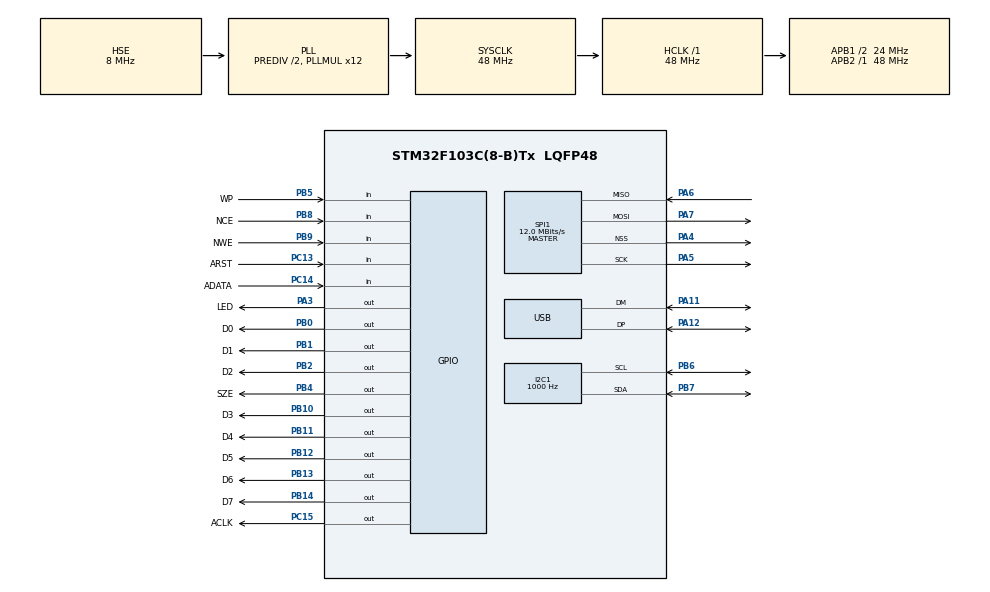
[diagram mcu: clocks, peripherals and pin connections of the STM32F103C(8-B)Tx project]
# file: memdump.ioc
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I2C1.ClockSpeed=1000
I2C1.GeneralCallMode=I2C_GENERALCALL_DISABLE
I2C1.NoStretchMode=I2C_NOSTRETCH_ENABLE
Mcu.Family=STM32F1
Mcu.Name=STM32F103C(8-B)Tx
Mcu.Package=LQFP48
NVIC.PriorityGroup=NVIC_PRIORITYGROUP_4
NVIC.USB_LP_CAN1_RX0_IRQn=true\:0\:0\:false\:false\:true\:false\:true\:true
PA11.Mode=Device
PA11.Signal=USB_DM
PA12.Mode=Device
PA12.Signal=USB_DP
PA13.Mode=Serial_Wire
PA13.Signal=SYS_JTMS-SWDIO
PA14.Mode=Serial_Wire
PA14.Signal=SYS_JTCK-SWCLK
PA3.GPIO_Label=LED
PA3.Signal=GPIO_Output
PA4.Mode=NSS_Signal_Hard_Output
PA4.Signal=SPI1_NSS
PA5.Mode=Full_Duplex_Master
PA5.Signal=SPI1_SCK
PA6.Mode=Full_Duplex_Master
PA6.Signal=SPI1_MISO
PA7.Mode=Full_Duplex_Master
PA7.Signal=SPI1_MOSI
PB0.GPIO_Label=D0
PB0.Signal=GPIO_Output
PB1.GPIO_Label=D1
PB1.Signal=GPIO_Output
PB10.GPIO_Label=D3
PB10.Signal=GPIO_Output
PB11.GPIO_Label=D4
PB11.Signal=GPIO_Output
PB12.GPIO_Label=D5
PB12.Signal=GPIO_Output
PB13.GPIO_Label=D6
PB13.Signal=GPIO_Output
PB14.GPIO_Label=D7
PB14.Signal=GPIO_Output
PB2.GPIO_Label=D2
PB2.Signal=GPIO_Output
PB4.GPIO_Label=SZE
PB4.Signal=GPIO_Output
PB5.GPIO_Label=WP
PB5.Signal=GPIO_Input
PB6.Mode=I2C
PB6.Signal=I2C1_SCL
PB7.Mode=I2C
PB7.Signal=I2C1_SDA
PB8.GPIO_Label=NCE
PB8.Signal=GPIO_Input
PB9.GPIO_Label=NWE
PB9.Signal=GPIO_Input
PC13-TAMPER-RTC.GPIO_Label=ARST
PC13-TAMPER-RTC.Signal=GPIO_Input
PC14-OSC32_IN.GPIO_Label=ADATA
PC14-OSC32_IN.Signal=GPIO_Input
PC15-OSC32_OUT.GPIO_Label=ACLK
PC15-OSC32_OUT.Signal=GPIO_Output
PD0-OSC_IN.Mode=HSE-External-Oscillator
PD0-OSC_IN.Signal=RCC_OSC_IN
PD1-OSC_OUT.Mode=HSE-External-Oscillator
PD1-OSC_OUT.Signal=RCC_OSC_OUT
ProjectManager.HeapSize=0x200
ProjectManager.StackSize=0x400
ProjectManager.TargetToolchain=STM32CubeIDE
RCC.AHBFreq_Value=48000000
RCC.APB1CLKDivider=RCC_HCLK_DIV2
RCC.APB1Freq_Value=24000000
RCC.APB1TimFreq_Value=48000000
RCC.APB2Freq_Value=48000000
RCC.APB2TimFreq_Value=48000000
RCC.HCLKFreq_Value=48000000
RCC.HSEDivPLL=RCC_HSE_PREDIV_DIV2
RCC.PLLMUL=RCC_PLL_MUL12
RCC.PLLSourceVirtual=RCC_PLLSOURCE_HSE
RCC.SYSCLKFreq_VALUE=48000000
RCC.SYSCLKSource=RCC_SYSCLKSOURCE_PLLCLK
RCC.USBFreq_Value=48000000
SPI1.BaudRatePrescaler=SPI_BAUDRATEPRESCALER_4
SPI1.CalculateBaudRate=12.0 MBits/s
SPI1.Direction=SPI_DIRECTION_2LINES
SPI1.Mode=SPI_MODE_MASTER
SPI1.VirtualNSS=VM_NSSHARD
SPI1.VirtualType=VM_MASTER
USB_DEVICE.CLASS_NAME_FS=CDC
USB_DEVICE.VirtualMode=Cdc
USB_DEVICE.VirtualModeFS=Cdc_FS
VP_USB_DEVICE_VS_USB_DEVICE_CDC_FS.Mode=CDC_FS
board=custom

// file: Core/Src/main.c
/* USER CODE BEGIN Header */
/**
  ******************************************************************************
  * @file           : main.c
  * @brief          : Main program body
  ******************************************************************************
  * @attention
  *
  * <h2><center>&copy; Copyright (c) 2022 STMicroelectronics.
  * All rights reserved.</center></h2>
  *
  * This software component is licensed by ST under BSD 3-Clause license,
  * the "License"; You may not use this file except in compliance with the
  * License. You may obtain a copy of the License at:
  *                        opensource.org/licenses/BSD-3-Clause
  *
  ******************************************************************************
  */
/* USER CODE END Header */
#include "main.h"
#include "usb_device.h"

I2C_HandleTypeDef hi2c1;

SPI_HandleTypeDef hspi1;

/* USER CODE BEGIN PV */

state st = run;
uint8_t cmd_buf [BUFSIZ] = {0};
uint8_t cmd_pos = 0;

/* USER CODE END PV */

void SystemClock_Config(void);
static void MX_GPIO_Init(void);
static void MX_I2C1_Init(void);
static void MX_SPI1_Init(void);
/* USER CODE BEGIN PFP */
extern uint8_t CDC_Transmit_FS(uint8_t *Buf, uint16_t Len);
/* USER CODE END PFP */

/* USER CODE BEGIN 0 */

/* -----------------------------------------------------------------------------
 * Converts a hexadecimal ASCII character to it's value
 *
 * From https://github.com/Sasszem/oldschool-game/blob/main/save.c
 * under the conditions of the MIT License:
 *
 * MIT License
 *
 * Copyright (c) 2022 László Baráth
 *
 * Permission is hereby granted, free of charge, to any person obtaining a copy
 * of this software and associated documentation files (the "Software"), to deal
 * in the Software without restriction, including without limitation the rights
 * to use, copy, modify, merge, publish, distribute, sublicense, and/or sell
 * copies of the Software, and to permit persons to whom the Software is
 * furnished to do so, subject to the following conditions:
 *
 * The above copyright notice and this permission notice shall be included in all
 * copies or substantial portions of the Software.
 *
 * THE SOFTWARE IS PROVIDED "AS IS", WITHOUT WARRANTY OF ANY KIND, EXPRESS OR
 * IMPLIED, INCLUDING BUT NOT LIMITED TO THE WARRANTIES OF MERCHANTABILITY,
 * FITNESS FOR A PARTICULAR PURPOSE AND NONINFRINGEMENT. IN NO EVENT SHALL THE
 * AUTHORS OR COPYRIGHT HOLDERS BE LIABLE FOR ANY CLAIM, DAMAGES OR OTHER
 * LIABILITY, WHETHER IN AN ACTION OF CONTRACT, TORT OR OTHERWISE, ARISING FROM,
 * OUT OF OR IN CONNECTION WITH THE SOFTWARE OR THE USE OR OTHER DEALINGS IN THE
 * SOFTWARE.
 * -------------------------------------------------------------------------- */
uint8_t hex_nibble(const char val) {
  if ('0' <= val && val <= '9')
    return val - '0';
  if ('a' <= val && val <= 'f')
    return val - 'a' + 10;
  if ('A' <= val && val <= 'F')
    return val - 'A' + 10;
  return 0xFF;
}

/* -----------------------------------------------------------------------------------------
 * Converts all characters until the first character that matches delim or until *Len
 * Result is stored to dest
 * Return value is the number of characters processed or 0 in case of a conversion failure
 * ----------------------------------------------------------------------------------------- */
uint8_t homegrown_scanf (uint8_t *Buf, uint8_t Len, uint32_t *dest, const char delim) {
  uint8_t cursor = 0;
  for (*dest = 0; Buf[cursor] != delim && cursor < Len; cursor++) {
    uint8_t nibble = hex_nibble(Buf[cursor]);
    if (nibble == 0xFF) {
      *dest = 0;
      return(cursor + 1);
    }
    *dest = *dest * 16 + nibble;
  }
  return (cursor + 1);
}
/* --------------------------------------------------------------------------
 * convert a hex to ascii string
 * input is a byte array (binary), output is a character array (str)
 * len is the number of bytes to convert, str needs to be at least 2x as big
 * -------------------------------------------------------------------------- */
void hex_to_ascii (const uint8_t *binary, char *str, uint16_t len) {
  for (uint16_t i = 0; i < len; ++i) {
    uint8_t low = binary [i] & 0x0f;
    uint8_t high = binary [i] >> 4;
    str [2 * i] = (low <= 0x9) ? low + '0' : low - 0xA + 'A';
    str [2 * i + 1] = (high <= 0x9) ? high + '0' : high - 0xA + 'A';
  }
}

char *hal_reason[] = {
  "OK     \n\r", // HAL_OK == 0
  "ERROR  \n\r", // HAL_ERROR == 1
  "BUSY   \n\r", // HAL_BUSY == 2
  "TIMEOUT\n\r", // HAL_TIMEOUT == 3
};

void i2c_dump(uint16_t dev_address, uint16_t capacity) {

  char tx_buff [BUFSIZ] = {0};
  uint8_t read_buff [BUFSIZ / 2] = {0};
  for (uint16_t i = 0; i < capacity; i += BUFSIZ / 2) {
    uint8_t reason;
    if ((reason = HAL_I2C_Mem_Read(&hi2c1, dev_address << 1, i, 8, read_buff, BUFSIZ/2, 500)) != HAL_OK) {

      CDC_Transmit_FS((uint8_t *) "No memory on address\n\r", 22);
      HAL_Delay(100);
      CDC_Transmit_FS((uint8_t *) hal_reason[reason], 9); // Got ERROR, and hi2c1.ErrorCode == HAL_I2C_ERROR_TIMEOUT
      HAL_Delay(100);

//      __HAL_RCC_I2C1_FORCE_RESET();
//      HAL_Delay(100);
//      __HAL_RCC_I2C1_RELEASE_RESET();
    }
    else {
      hex_to_ascii(read_buff, tx_buff, BUFSIZ/2);
      CDC_Transmit_FS((uint8_t *) tx_buff, BUFSIZ);
      CDC_Transmit_FS((uint8_t *) "\n\r", 2);
    }
  }
}

// todo spi, d28, d32 read & write, i2c write

void i2c_errata() {
  char* reason = "Unknown";

  // 1. Disable the I2C peripheral by clearing the PE bit in I2Cx_CR1 register.
  //LL_I2C_Disable(I2C1);
  CLEAR_BIT(I2C1->CR1, I2C_CR1_PE);
  HAL_Delay(100); // TODO wait until IDR has right value

  {
    GPIO_InitTypeDef GPIO_InitStruct = {0};
  //  /*Configure GPIO pin Output Level */
    //HAL_GPIO_WritePin(GPIOB, D6_Pin, GPIO_PIN_RESET);

    GPIO_InitStruct.Pin = D6_Pin|D7_Pin;
    GPIO_InitStruct.Mode = GPIO_MODE_OUTPUT_OD;
    GPIO_InitStruct.Pull = GPIO_NOPULL; // GPIO_PULLUP vagy GPIO_PULLDOWN
    GPIO_InitStruct.Speed = GPIO_SPEED_FREQ_HIGH; // GPIO_PULLUP vagy GPIO_PULLDOWN
    HAL_GPIO_Init(GPIOB, &GPIO_InitStruct);
    HAL_Delay(100); // TODO wait until IDR has right value
  }

  // 2. Configure the SCL and SDA I/Os as General Purpose Output Open-Drain, High level (Write 1 to GPIOx_ODR)
  const uint16_t PIN_SDA = D7_Pin;
  const uint16_t PIN_SCL = D6_Pin;
  //GPIOB->ODR |= GPIO_PIN_6 | GPIO_PIN_7;
  ATOMIC_MODIFY_REG(GPIOB->ODR, 0, PIN_SDA | PIN_SCL);

  // 3. Check SCL and SDA High level in GPIOx_IDR.
  HAL_Delay(100); // TODO wait until IDR has right value

  int err = 0;
  if (READ_BIT(GPIOB->IDR, PIN_SDA | PIN_SCL) != (PIN_SDA | PIN_SCL)) {
    err = 1;
    reason = "Error in step 3\n\r";
  }

  // 4. Configure the SDA I/O as General Purpose Output Open-Drain, Low level (Write 0 to GPIOx_ODR).
  ATOMIC_MODIFY_REG(GPIOB->ODR, PIN_SDA, 0);
  // 5. Check SDA Low level in GPIOx_IDR.
  HAL_Delay(100);
  if (READ_BIT(GPIOB->IDR, PIN_SDA) != 0) {
    err = 1;
    reason = "Error in step 5\n\r";
    goto label_err;
  }
  // 6. Configure the SCL I/O as General Purpose Output Open-Drain, Low level (Write 0 to GPIOx_ODR).
  ATOMIC_MODIFY_REG(GPIOB->ODR, PIN_SCL, 0);
  // 7. Check SCL Low level in GPIOx_IDR.
  HAL_Delay(100);
  if (READ_BIT(GPIOB->IDR, PIN_SCL) != 0) {
    err = 1;
    reason = "Error in step 7\n\r";
    goto label_err;
  }
  // 8. Configure the SCL I/O as General Purpose Output Open-Drain, High level (Write 1 to GPIOx_ODR).
  ATOMIC_MODIFY_REG(GPIOB->ODR, 0, PIN_SCL);
  // 9. Check SCL High level in GPIOx_IDR.
  HAL_Delay(1000);
  READ_REG(GPIOB->ODR);
  HAL_Delay(1000);
  READ_REG(GPIOB->IDR);
  HAL_Delay(1000);
  if (READ_BIT(GPIOB->IDR, PIN_SCL) != PIN_SCL) {
    err = 1;
    reason = "Error in step 9\n\r";
    goto label_err;
  }
  // 10. Configure the SDA I/O as General Purpose Output Open-Drain , High level (Write 1 to GPIOx_ODR).
  ATOMIC_MODIFY_REG(GPIOB->ODR, 0, PIN_SDA);
  // 11. Check SDA High level in GPIOx_IDR.
  HAL_Delay(1000);

  if (READ_BIT(GPIOB->IDR, PIN_SDA) != PIN_SDA) {
    err = 1;
    reason = "Error in step 11\n\r";
    goto label_err;
  }
  // 12. Configure the SCL and SDA I/Os as Alternate function Open-Drain.

  {
    GPIO_InitTypeDef GPIO_InitStruct = {0};
    //  /*Configure GPIO pin Output Level */
    //HAL_GPIO_WritePin(GPIOB, D6_Pin, GPIO_PIN_RESET);

    GPIO_InitStruct.Pin = D6_Pin|D7_Pin;
    GPIO_InitStruct.Mode = GPIO_MODE_AF_OD;
    GPIO_InitStruct.Pull = GPIO_NOPULL; // GPIO_PULLUP vagy GPIO_PULLDOWN
    GPIO_InitStruct.Speed = GPIO_SPEED_FREQ_HIGH;
    HAL_GPIO_Init(GPIOB, &GPIO_InitStruct);
    HAL_Delay(100); // TODO wait until IDR has right value
  }

  HAL_Delay(100);
  // 13. Set SWRST bit in I2Cx_CR1 register.
  SET_BIT(I2C1->CR1, I2C_CR1_SWRST);
  HAL_Delay(100);
  // 14. Clear SWRST bit in I2Cx_CR1 register.
  CLEAR_BIT(I2C1->CR1, I2C_CR1_SWRST);
  HAL_Delay(100);
  // 15. Enable the I2C peripheral by setting the PE bit in I2Cx_CR1 register.
  SET_BIT(I2C1->CR1, I2C_CR1_PE);

label_err:
  if (err != 0) {
    uint32_t read_buff = READ_REG(GPIOB->IDR);
    read_buff &= (PIN_SDA | PIN_SCL);

    char tx_buff [BUFSIZ] = {0};
    hex_to_ascii((char*)&read_buff, tx_buff, 4);
    HAL_Delay(100);
    CDC_Transmit_FS((uint8_t *) tx_buff, 8);

    HAL_Delay(100);
    CDC_Transmit_FS((uint8_t *) "Error: something happened\n\r", strlen("Error: something happened\n\r"));
    HAL_Delay(100);
    CDC_Transmit_FS(reason, strlen(reason));
  }
/*  char tx_buff [BUFSIZ] = {0};
  hex_to_ascii((char*)&read_buff, tx_buff, 4);
  HAL_Delay(100);
  CDC_Transmit_FS((uint8_t *) tx_buff, 8);

  HAL_Delay(100);
  CDC_Transmit_FS((uint8_t *) "\n\r", 2);*/

}

/* USER CODE END 0 */

int main(void)
{

  /* MCU Configuration--------------------------------------------------------*/

  /* Reset of all peripherals, Initializes the Flash interface and the Systick. */
  HAL_Init();

  /* Configure the system clock */
  SystemClock_Config();

  /* Initialize all configured peripherals */
  MX_GPIO_Init();
  MX_I2C1_Init();
  MX_SPI1_Init();
  MX_USB_DEVICE_Init();
  /* USER CODE BEGIN 2 */

  char error_msg[] = "Invalid command!\n\r";
  uint32_t i2c_address = 0;
  uint32_t limit_address = 0;

  //__HAL_RCC_I2C1_FORCE_RESET();
  //HAL_Delay(100);
  //__HAL_RCC_I2C1_RELEASE_RESET();
  HAL_GPIO_WritePin(ARST_GPIO_Port, ARST_Pin, 0);
  HAL_Delay(100);
  HAL_GPIO_WritePin(ARST_GPIO_Port, ARST_Pin, 1);
  /* USER CODE END 2 */

  /* Infinite loop */
  /* USER CODE BEGIN WHILE */
  while (1) {
    HAL_Delay(100);
    //if received \r start decoding state
    if (cmd_buf[cmd_pos - 1] == '\r') {
      // receive the command, set state
      if (cmd_buf[0] == 'r') {
        switch (cmd_buf[1]) {
          case 'i':
            st = read_i2c;
            break;
          case 's':
            st = read_spi;
            break;
          case '2':
            st = read_d28;
            break;
          case '3':
            st = read_d32;
            break;
          default:
            st = invalid;
        }
      }
      else if (cmd_buf[0] == 'w') {
        switch (cmd_buf[1]) {
          case 'i':
            st = write_i2c;
            break;
          case 's':
            st = write_spi;
            break;
          case '2':
            st = write_d28;
            break;
          case '3':
            st = write_d32;
            break;
          default:
            st = invalid;
        }
      }
      else if (cmd_buf[0] == 'x') {
        st = reset_i2c;
      }
      else {
        st = invalid;
      }
      // receive optional i2c address and limit address
      if (st != reset_i2c) {
        uint8_t cursor = 3; // 3 = 2 for the command, 1 for a separator
        cmd_pos -= cursor - 1;
        if (st == write_i2c || st == read_i2c) {
          cursor += (homegrown_scanf(cmd_buf + cursor, cmd_pos, &i2c_address, ' '));
          if (i2c_address == 0) {
            st = invalid;
          }
          cmd_pos -= cursor - 1;
        }
        homegrown_scanf(cmd_buf + cursor, cmd_pos, &limit_address, '\r');
        if (limit_address == 0) {
          st = invalid;
        }
      }
      //reset cmd_buf and cmd_pos
      memset(cmd_buf, 0, BUFSIZ);
      cmd_pos = 0;
    }
    switch (st) {
      case read_i2c:
        i2c_dump(i2c_address, limit_address);
        i2c_address = 0;
        limit_address = 0;
        st = run;
        break;
      case read_spi:
        limit_address = 0;
        st = run;
        break;
      case read_d28:
        limit_address = 0;
        st = run;
        break;
      case read_d32:
        limit_address = 0;
        st = run;
        break;
      case write_i2c:
        limit_address = 0;
        st = run;
        break;
      case write_spi:
        limit_address = 0;
        st = run;
        break;
      case write_d28:
        limit_address = 0;
        st = run;
        break;
      case write_d32:
        limit_address = 0;
        st = run;
        break;
      case invalid:
        CDC_Transmit_FS( (uint8_t *) error_msg, strlen(error_msg));
        st = run;
        break;
      case reset_i2c:
        i2c_errata();
        st = run;
      default:
        continue;
    }
    /* USER CODE END WHILE */

  }
}

void SystemClock_Config(void)
{
  RCC_OscInitTypeDef RCC_OscInitStruct = {0};
  RCC_ClkInitTypeDef RCC_ClkInitStruct = {0};
  RCC_PeriphCLKInitTypeDef PeriphClkInit = {0};

  /** Initializes the RCC Oscillators according to the specified parameters
  * in the RCC_OscInitTypeDef structure.
  */
  RCC_OscInitStruct.OscillatorType = RCC_OSCILLATORTYPE_HSE;
  RCC_OscInitStruct.HSEState = RCC_HSE_ON;
  RCC_OscInitStruct.HSEPredivValue = RCC_HSE_PREDIV_DIV2;
  RCC_OscInitStruct.HSIState = RCC_HSI_ON;
  RCC_OscInitStruct.PLL.PLLState = RCC_PLL_ON;
  RCC_OscInitStruct.PLL.PLLSource = RCC_PLLSOURCE_HSE;
  RCC_OscInitStruct.PLL.PLLMUL = RCC_PLL_MUL12;
  if (HAL_RCC_OscConfig(&RCC_OscInitStruct) != HAL_OK)
  {
    Error_Handler();
  }

  /** Initializes the CPU, AHB and APB buses clocks
  */
  RCC_ClkInitStruct.ClockType = RCC_CLOCKTYPE_HCLK|RCC_CLOCKTYPE_SYSCLK
                              |RCC_CLOCKTYPE_PCLK1|RCC_CLOCKTYPE_PCLK2;
  RCC_ClkInitStruct.SYSCLKSource = RCC_SYSCLKSOURCE_PLLCLK;
  RCC_ClkInitStruct.AHBCLKDivider = RCC_SYSCLK_DIV1;
  RCC_ClkInitStruct.APB1CLKDivider = RCC_HCLK_DIV2;
  RCC_ClkInitStruct.APB2CLKDivider = RCC_HCLK_DIV1;

  if (HAL_RCC_ClockConfig(&RCC_ClkInitStruct, FLASH_LATENCY_1) != HAL_OK)
  {
    Error_Handler();
  }
  PeriphClkInit.PeriphClockSelection = RCC_PERIPHCLK_USB;
  PeriphClkInit.UsbClockSelection = RCC_USBCLKSOURCE_PLL;
  if (HAL_RCCEx_PeriphCLKConfig(&PeriphClkInit) != HAL_OK)
  {
    Error_Handler();
  }
}

static void MX_I2C1_Init(void)
{

  hi2c1.Instance = I2C1;
  hi2c1.Init.ClockSpeed = 1000;
  hi2c1.Init.DutyCycle = I2C_DUTYCYCLE_2;
  hi2c1.Init.OwnAddress1 = 0;
  hi2c1.Init.AddressingMode = I2C_ADDRESSINGMODE_7BIT;
  hi2c1.Init.DualAddressMode = I2C_DUALADDRESS_DISABLE;
  hi2c1.Init.OwnAddress2 = 0;
  hi2c1.Init.GeneralCallMode = I2C_GENERALCALL_DISABLE;
  hi2c1.Init.NoStretchMode = I2C_NOSTRETCH_ENABLE;
  if (HAL_I2C_Init(&hi2c1) != HAL_OK)
  {
    Error_Handler();
  }

}

static void MX_SPI1_Init(void)
{

  /* SPI1 parameter configuration*/
  hspi1.Instance = SPI1;
  hspi1.Init.Mode = SPI_MODE_MASTER;
  hspi1.Init.Direction = SPI_DIRECTION_2LINES;
  hspi1.Init.DataSize = SPI_DATASIZE_8BIT;
  hspi1.Init.CLKPolarity = SPI_POLARITY_LOW;
  hspi1.Init.CLKPhase = SPI_PHASE_1EDGE;
  hspi1.Init.NSS = SPI_NSS_HARD_OUTPUT;
  hspi1.Init.BaudRatePrescaler = SPI_BAUDRATEPRESCALER_4;
  hspi1.Init.FirstBit = SPI_FIRSTBIT_MSB;
  hspi1.Init.TIMode = SPI_TIMODE_DISABLE;
  hspi1.Init.CRCCalculation = SPI_CRCCALCULATION_DISABLE;
  hspi1.Init.CRCPolynomial = 10;
  if (HAL_SPI_Init(&hspi1) != HAL_OK)
  {
    Error_Handler();
  }

}

static void MX_GPIO_Init(void)
{
  GPIO_InitTypeDef GPIO_InitStruct = {0};

  /* GPIO Ports Clock Enable */
  __HAL_RCC_GPIOC_CLK_ENABLE();
  __HAL_RCC_GPIOD_CLK_ENABLE();
  __HAL_RCC_GPIOA_CLK_ENABLE();
  __HAL_RCC_GPIOB_CLK_ENABLE();

  /*Configure GPIO pin Output Level */
  HAL_GPIO_WritePin(ACLK_GPIO_Port, ACLK_Pin, GPIO_PIN_RESET);

  /*Configure GPIO pin Output Level */
  HAL_GPIO_WritePin(LED_GPIO_Port, LED_Pin, GPIO_PIN_RESET);

  /*Configure GPIO pin Output Level */
  HAL_GPIO_WritePin(GPIOB, D0_Pin|D1_Pin|D2_Pin|D3_Pin
                          |D4_Pin|D5_Pin|D6_Pin|D7_Pin
                          |SZE_Pin, GPIO_PIN_RESET);

  /*Configure GPIO pins : ARST_Pin ADATA_Pin */
  GPIO_InitStruct.Pin = ARST_Pin|ADATA_Pin;
  GPIO_InitStruct.Mode = GPIO_MODE_INPUT;
  GPIO_InitStruct.Pull = GPIO_NOPULL;
  HAL_GPIO_Init(GPIOC, &GPIO_InitStruct);

  /*Configure GPIO pin : ACLK_Pin */
  GPIO_InitStruct.Pin = ACLK_Pin;
  GPIO_InitStruct.Mode = GPIO_MODE_OUTPUT_PP;
  GPIO_InitStruct.Pull = GPIO_NOPULL;
  GPIO_InitStruct.Speed = GPIO_SPEED_FREQ_LOW;
  HAL_GPIO_Init(ACLK_GPIO_Port, &GPIO_InitStruct);

  /*Configure GPIO pin : LED_Pin */
  GPIO_InitStruct.Pin = LED_Pin;
  GPIO_InitStruct.Mode = GPIO_MODE_OUTPUT_PP;
  GPIO_InitStruct.Pull = GPIO_NOPULL;
  GPIO_InitStruct.Speed = GPIO_SPEED_FREQ_LOW;
  HAL_GPIO_Init(LED_GPIO_Port, &GPIO_InitStruct);

  /*Configure GPIO pins : D0_Pin D1_Pin D2_Pin D3_Pin
                           D4_Pin D5_Pin D6_Pin D7_Pin
                           SZE_Pin */
  GPIO_InitStruct.Pin = D0_Pin|D1_Pin|D2_Pin|D3_Pin
                          |D4_Pin|D5_Pin|D6_Pin|D7_Pin
                          |SZE_Pin;
  GPIO_InitStruct.Mode = GPIO_MODE_OUTPUT_PP;
  GPIO_InitStruct.Pull = GPIO_NOPULL;
  GPIO_InitStruct.Speed = GPIO_SPEED_FREQ_LOW;
  HAL_GPIO_Init(GPIOB, &GPIO_InitStruct);

  /*Configure GPIO pins : WP_Pin NCE_Pin NWE_Pin */
  GPIO_InitStruct.Pin = WP_Pin|NCE_Pin|NWE_Pin;
  GPIO_InitStruct.Mode = GPIO_MODE_INPUT;
  GPIO_InitStruct.Pull = GPIO_NOPULL;
  HAL_GPIO_Init(GPIOB, &GPIO_InitStruct);

}

void Error_Handler(void)
{
  __disable_irq();
  while (1)
  {
  }
}
